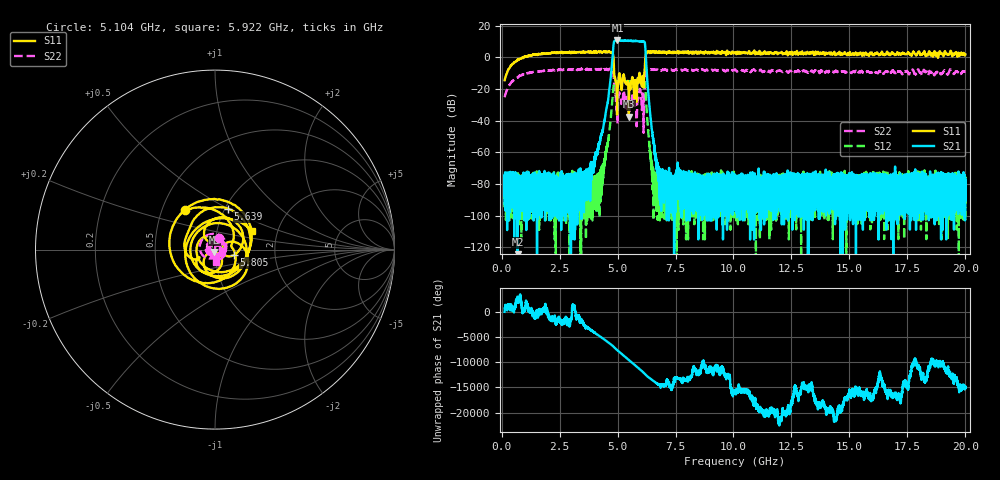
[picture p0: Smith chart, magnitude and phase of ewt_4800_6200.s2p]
!Created with skrf (http://scikit-rf.org).
# GHz S RI R 50.0
!freq ReS11 ImS11 ReS21 ImS21 ReS12 ImS12 ReS22 ImS22
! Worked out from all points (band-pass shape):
!   20013 points, 130 MHz to 20 GHz, reference 50 ohm
!   highest |S21| = 10.67 dB at 4.997 GHz (marker M1); lowest = -178.6 dB at 686 MHz (marker M2)
!   |S21| within 3 dB of the highest: 4.826 GHz to 6.191 GHz (1.365 GHz wide, 24.8 % of centre)
!   lowest |S11| = -37.5 dB at 5.487 GHz (marker M3), VSWR 1.03, Z = 49.7 - j1.3 ohm
!   |S11| at or under -10 dB: start of sweep to 227.7 MHz; 4.855 GHz to 5.941 GHz (1.086 GHz wide, 20.1 % of centre); 5.954 GHz to 6.156 GHz (201.7 MHz wide, 3.33 % of centre)
!   |S22| runs from -47.7 to -7.1 dB; largest |S21 - S12| = 3.6
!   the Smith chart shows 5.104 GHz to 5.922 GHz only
!   S11 on the Smith chart (normalised r, x): 5.104 GHz: 0.66, +0.31; 5.639 GHz: 1.03, +0.50; 5.805 GHz: 1.24, -0.07; 5.922 GHz: 1.48, +0.33
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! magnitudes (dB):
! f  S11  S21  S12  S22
! 130 MHz  -14.5  -83.2  -75.6  -25.2
! 686 MHz  -1.5  -178.6  -98.0  -12.7
! 3.442 GHz  3.3  -77.0  -92.4  -7.2
! 3.796 GHz  2.8  -75.2  -86.1  -7.5
! 4.298 GHz  3.4  -48.9  -72.8  -7.3
! 4.738 GHz  3.1  -7.7  -33.5  -7.5
! 4.865 GHz  -12.2  10.3  -15.6  -19.8
! 4.997 GHz  -21.3  10.7  -15.3  -41.7
! 5.104 GHz  -11.3  10.5  -15.3  -23.5
! 5.487 GHz  -37.5  10.4  -15.3  -30.9
! 5.639 GHz  -12.4  10.3  -15.4  -24.3
! 5.805 GHz  -19.1  10.3  -15.3  -32.1
! 5.922 GHz  -12.7  10.0  -15.5  -23.0
! 6.158 GHz  -9.8  9.7  -15.6  -22.1
! 6.288 GHz  3.5  -15.8  -41.0  -7.7
! 6.491 GHz  3.3  -47.0  -71.1  -7.6
! 6.754 GHz  3.0  -70.7  -81.4  -7.9
! 7.375 GHz  3.5  -84.2  -96.4  -8.2
! 10.06 GHz  3.0  -79.4  -88.4  -7.7
! 13.38 GHz  2.5  -84.4  -83.5  -8.6
! 16.69 GHz  2.0  -86.3  -79.9  -10.1
! 20 GHz  1.8  -84.2  -77.1  -8.9
